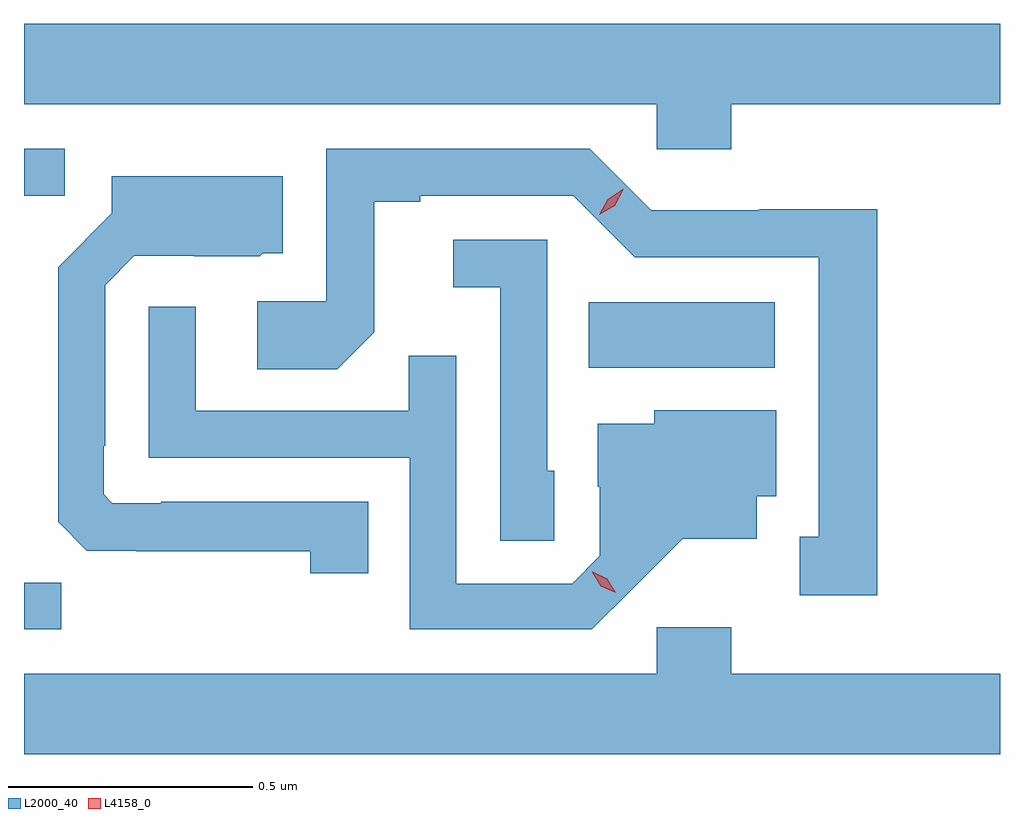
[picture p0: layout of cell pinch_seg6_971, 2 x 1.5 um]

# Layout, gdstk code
import gdstk
lib = gdstk.Library(unit=1e-6, precision=1e-09)
def R(c, l, rs):  # rectangles x0, y0, x1, y1
    for r in rs: c.add(gdstk.rectangle(r[:2], r[2:], *l))
def P(c, l, *ps):  # polygons
    for p in ps: c.add(gdstk.Polygon(p, *l))
L2000_40 = (2000, 40)
L4158_0 = (4158, 0)

pinch_seg6_971 = lib.new_cell('pinch_seg6_971')
R(pinch_seg6_971, L2000_40, [(354.437,943.596,354.513,943.691), (355.594,944.132,355.975,944.266), (354.437,944.484,354.52,944.58)])
P(pinch_seg6_971, L2000_40, [(355.886,944.672),(356.437,944.672),(356.437,944.836),(354.437,944.836),(354.437,944.672),(355.734,944.672),(355.734,944.579),(355.886,944.579)],
  [(356.185,944.456),(355.944,944.456),(355.944,944.454),(355.722,944.454),(355.596,944.58),(355.056,944.58),(355.056,944.268),(354.915,944.268),(354.915,944.128),(355.079,944.128),(355.155,944.204),(355.155,944.472),(355.249,944.472),(355.249,944.484),(355.563,944.484),(355.689,944.358),(356.066,944.358),(356.066,943.785),(356.027,943.785),(356.027,943.665),(356.185,943.665)],
  [(355.142,943.857),(354.718,943.857),(354.718,943.854),(354.618,943.854),(354.6,943.872),(354.6,943.972),(354.603,943.972),(354.603,944.301),(354.663,944.361),(354.786,944.361),(354.786,944.36),(354.92,944.36),(354.926,944.366),(354.967,944.366),(354.967,944.524),(354.617,944.524),(354.617,944.448),(354.507,944.338),(354.507,943.816),(354.566,943.757),(354.667,943.757),(354.667,943.756),(355.024,943.756),(355.024,943.71),(355.142,943.71)],
  [(355.524,943.92),(355.509,943.92),(355.509,944.394),(355.317,944.394),(355.317,944.297),(355.413,944.297),(355.413,943.777),(355.524,943.777)],
  [(355.684,943.679),(355.787,943.781),(355.939,943.781),(355.939,943.868),(355.978,943.868),(355.978,944.044),(355.728,944.044),(355.728,944.017),(355.613,944.017),(355.613,943.888),(355.617,943.888),(355.617,943.746),(355.56,943.689),(355.323,943.689),(355.323,944.156),(355.225,944.156),(355.225,944.043),(354.789,944.043),(354.789,944.257),(354.693,944.257),(354.693,943.947),(355.227,943.947),(355.227,943.596),(355.6,943.596)],
  [(356.437,943.504),(355.886,943.504),(355.886,943.6),(355.734,943.6),(355.734,943.504),(354.437,943.504),(354.437,943.34),(356.437,943.34)])
P(pinch_seg6_971, L4158_0, [(355.616,944.445),(355.616,944.445),(355.633,944.477),(355.664,944.497),(355.665,944.497),(355.665,944.496),(355.648,944.464),(355.616,944.445)],
  [(355.65,943.67),(355.619,943.684),(355.601,943.713),(355.601,943.714),(355.602,943.714),(355.632,943.699),(355.65,943.67),(355.65,943.67)])

lib.write_gds('pinch_seg6_971.gds')
